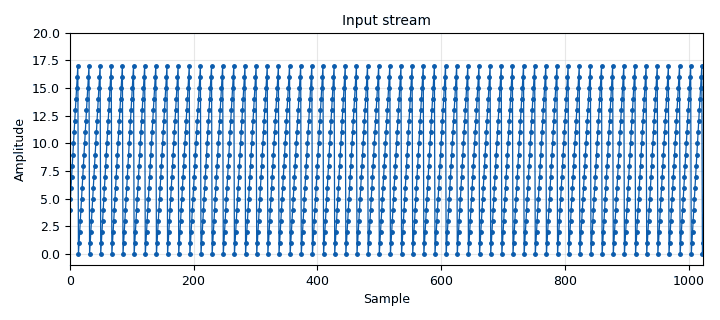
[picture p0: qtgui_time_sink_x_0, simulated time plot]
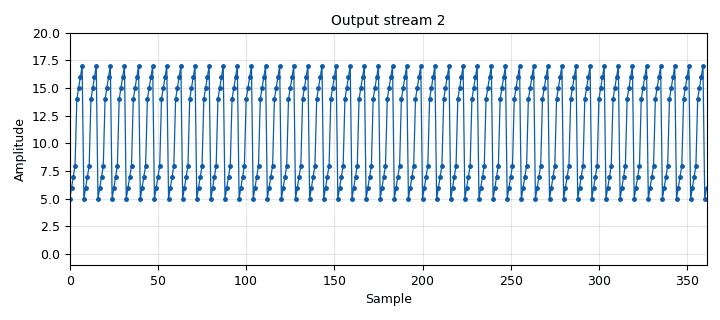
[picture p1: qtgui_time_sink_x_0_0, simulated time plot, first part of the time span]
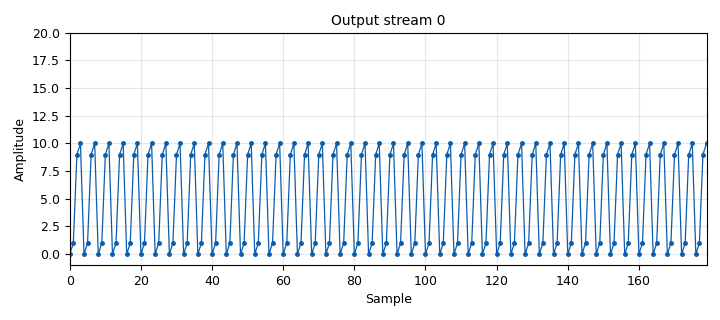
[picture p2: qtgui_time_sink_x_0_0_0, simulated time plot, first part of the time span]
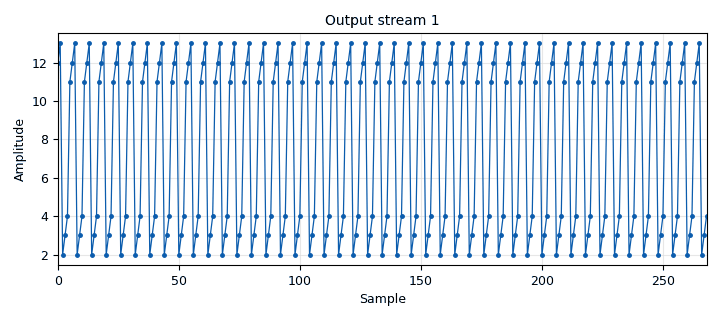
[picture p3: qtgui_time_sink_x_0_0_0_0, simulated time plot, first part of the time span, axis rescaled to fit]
options:
  parameters:
    author: David Pi
    copyright: GNU GPL 3.0+
    description: Adapted from GNU Radio's own example (gr-blocks/examples/stream_demux_demo.grc).
    generate_options: qt_gui
    id: stream_demux_demo
    output_language: python
    title: Stream Demux demo
  states: {}

blocks:
- name: samp_rate
  id: variable
  parameters:
    value: '32000'
  states: {}
- name: tag0
  id: variable_tag_object
  parameters:
    key: pmt.intern("key0")
    offset: '0'
    src: pmt.intern("src")
    value: pmt.intern("value0")
  states: {}
- name: tag1
  id: variable_tag_object
  parameters:
    key: pmt.intern("key1")
    offset: '2'
    src: pmt.intern("src")
    value: pmt.intern("value1")
  states: {}
- name: tag2
  id: variable_tag_object
  parameters:
    key: pmt.intern("key2")
    offset: '5'
    src: pmt.intern("src")
    value: pmt.intern("value2")
  states: {}
- name: blocks_stream_demux_0
  id: blocks_stream_demux
  parameters:
    lengths: (2,3,4)
    num_outputs: '3'
    type: float
  states: {}
- name: blocks_throttle2_0
  id: blocks_throttle2
  parameters:
    samples_per_second: samp_rate
    type: float
  states: {}
- name: blocks_vector_source_x_0
  id: blocks_vector_source_x
  parameters:
    repeat: 'True'
    tags: '[tag0, tag1, tag2]'
    type: float
    vector: range(0,18)
  states: {}
- name: qtgui_time_sink_x_0
  id: qtgui_time_sink_x
  parameters:
    grid: 'True'
    gui_hint: 0,0,1,3
    marker1: '0'
    name: '"Input stream"'
    size: '1024'
    type: float
    ymax: '20'
    samp_rate: samp_rate
  states: {}
- name: qtgui_time_sink_x_0_0
  id: qtgui_time_sink_x
  parameters:
    grid: 'True'
    gui_hint: 1,2,1,1
    marker1: '0'
    name: '"Output stream 2"'
    size: '1024'
    type: float
    ymax: '20'
    samp_rate: samp_rate
  states: {}
- name: qtgui_time_sink_x_0_0_0
  id: qtgui_time_sink_x
  parameters:
    grid: 'True'
    gui_hint: 1,0,1,1
    marker1: '0'
    name: '"Output stream 0"'
    size: '1024'
    type: float
    ymax: '20'
    samp_rate: samp_rate
  states: {}
- name: qtgui_time_sink_x_0_0_0_0
  id: qtgui_time_sink_x
  parameters:
    grid: 'True'
    gui_hint: 1,1,1,1
    marker1: '0'
    name: '"Output stream 1"'
    size: '1024'
    type: float
    ymax: '12'
    samp_rate: samp_rate
  states: {}

connections:
- [blocks_stream_demux_0, '0', qtgui_time_sink_x_0_0_0, '0']
- [blocks_stream_demux_0, '1', qtgui_time_sink_x_0_0_0_0, '0']
- [blocks_stream_demux_0, '2', qtgui_time_sink_x_0_0, '0']
- [blocks_throttle2_0, '0', blocks_stream_demux_0, '0']
- [blocks_vector_source_x_0, '0', blocks_throttle2_0, '0']
- [blocks_vector_source_x_0, '0', qtgui_time_sink_x_0, '0']

metadata:
  file_format: 1
  grc_version: 3.10.10.0
